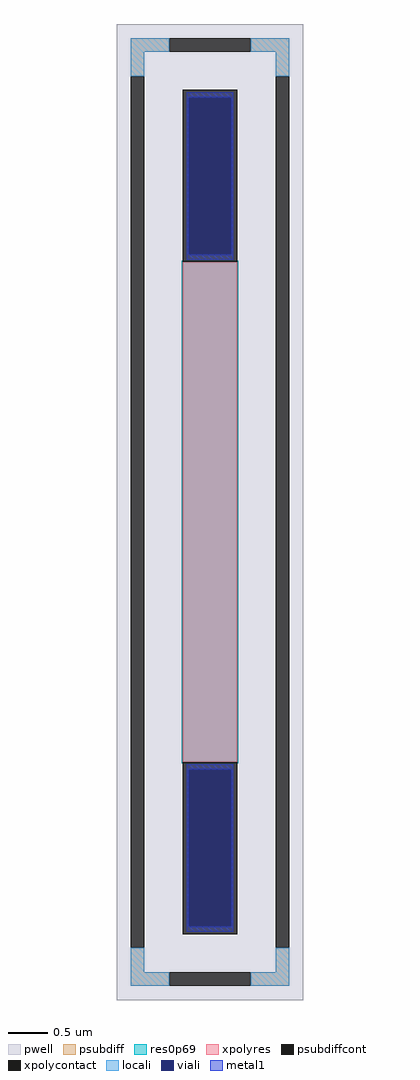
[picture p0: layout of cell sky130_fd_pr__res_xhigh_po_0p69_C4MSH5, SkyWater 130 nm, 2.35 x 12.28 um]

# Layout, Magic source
magic
tech sky130A
magscale 1 2
<< pwell >>
rect -235 -1228 235 1228
<< psubdiff >>
rect -199 1158 -103 1192
rect 103 1158 199 1192
rect -199 1096 -165 1158
rect 165 1096 199 1158
rect -199 -1158 -165 -1096
rect 165 -1158 199 -1096
rect -199 -1192 -103 -1158
rect 103 -1192 199 -1158
<< psubdiffcont >>
rect -103 1158 103 1192
rect -199 -1096 -165 1096
rect 165 -1096 199 1096
rect -103 -1192 103 -1158
<< xpolycontact >>
rect -69 630 69 1062
rect -69 -1062 69 -630
<< xpolyres >>
rect -69 -630 69 630
<< locali >>
rect -199 1158 -103 1192
rect 103 1158 199 1192
rect -199 1096 -165 1158
rect 165 1096 199 1158
rect -199 -1158 -165 -1096
rect 165 -1158 199 -1096
rect -199 -1192 -103 -1158
rect 103 -1192 199 -1158
<< viali >>
rect -53 647 53 1044
rect -53 -1044 53 -647
<< metal1 >>
rect -59 1044 59 1056
rect -59 647 -53 1044
rect 53 647 59 1044
rect -59 635 59 647
rect -59 -647 59 -635
rect -59 -1044 -53 -647
rect 53 -1044 59 -647
rect -59 -1056 59 -1044
<< res0p69 >>
rect -71 -632 71 632
<< properties >>
string FIXED_BBOX -182 -1175 182 1175
string gencell sky130_fd_pr__res_xhigh_po_0p69
string library sky130
string parameters w 0.690 l 6.3 m 1 nx 1 wmin 0.690 lmin 0.50 rho 2000 val 18.806k dummy 0 dw 0.0 term 188.2 sterm 0.0 caplen 0 wmax 0.690 guard 1 glc 1 grc 1 gtc 1 gbc 1 compatible {sky130_fd_pr__res_xhigh_po_0p35  sky130_fd_pr__res_xhigh_po_0p69 sky130_fd_pr__res_xhigh_po_1p41  sky130_fd_pr__res_xhigh_po_2p85 sky130_fd_pr__res_xhigh_po_5p73} full_metal 1 n_guard 0 hv_guard 0 vias 1 viagb 0 viagt 0 viagl 0 viagr 0
<< end >>
